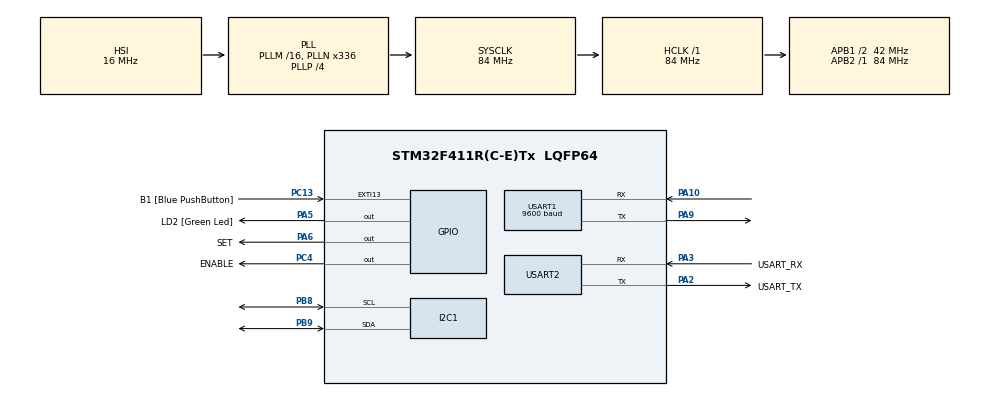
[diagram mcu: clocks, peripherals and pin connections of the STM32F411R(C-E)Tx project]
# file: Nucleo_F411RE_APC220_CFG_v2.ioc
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Mcu.Family=STM32F4
Mcu.Name=STM32F411R(C-E)Tx
Mcu.Package=LQFP64
NVIC.PriorityGroup=NVIC_PRIORITYGROUP_0
NVIC.USART1_IRQn=true\:0\:0\:false\:false\:true\:true\:true\:true
PA10.Mode=Asynchronous
PA10.Signal=USART1_RX
PA13.GPIO_Label=TMS
PA13.Mode=Serial_Wire
PA13.Signal=SYS_JTMS-SWDIO
PA14.GPIO_Label=TCK
PA14.Mode=Serial_Wire
PA14.Signal=SYS_JTCK-SWCLK
PA2.GPIO_Label=USART_TX
PA2.Mode=Asynchronous
PA2.Signal=USART2_TX
PA3.GPIO_Label=USART_RX
PA3.Mode=Asynchronous
PA3.Signal=USART2_RX
PA5.GPIO_Label=LD2 [Green Led]
PA5.Signal=GPIO_Output
PA6.GPIO_Label=SET
PA6.Signal=GPIO_Output
PA9.Mode=Asynchronous
PA9.Signal=USART1_TX
PB3.GPIO_Label=SWO
PB3.Signal=SYS_JTDO-SWO
PB8.Mode=I2C
PB8.Signal=I2C1_SCL
PB9.Mode=I2C
PB9.Signal=I2C1_SDA
PC13-ANTI_TAMP.GPIO_Label=B1 [Blue PushButton]
PC13-ANTI_TAMP.GPIO_ModeDefaultEXTI=GPIO_MODE_IT_FALLING
PC13-ANTI_TAMP.Signal=GPXTI13
PC14-OSC32_IN.Mode=LSE-External-Oscillator
PC14-OSC32_IN.Signal=RCC_OSC32_IN
PC15-OSC32_OUT.Mode=LSE-External-Oscillator
PC15-OSC32_OUT.Signal=RCC_OSC32_OUT
PC4.GPIO_Label=ENABLE
PC4.Signal=GPIO_Output
PH0\ -\ OSC_IN.Mode=HSE-External-Clock-Source
PH0\ -\ OSC_IN.Signal=RCC_OSC_IN
PH1\ -\ OSC_OUT.Mode=HSE-External-Clock-Source
PH1\ -\ OSC_OUT.Signal=RCC_OSC_OUT
ProjectManager.HeapSize=0x200
ProjectManager.StackSize=0x400
ProjectManager.TargetToolchain=STM32CubeIDE
RCC.48MHZClocksFreq_Value=84000000
RCC.AHBFreq_Value=84000000
RCC.APB1CLKDivider=RCC_HCLK_DIV2
RCC.APB1Freq_Value=42000000
RCC.APB1TimFreq_Value=84000000
RCC.APB2Freq_Value=84000000
RCC.APB2TimFreq_Value=84000000
RCC.CortexFreq_Value=84000000
RCC.FLatency-AdvancedSettings=FLASH_LATENCY_2
RCC.HCLKFreq_Value=84000000
RCC.HSE_VALUE=8000000
RCC.HSI_VALUE=16000000
RCC.PLLN=336
RCC.PLLP=RCC_PLLP_DIV4
RCC.SYSCLKFreq_VALUE=84000000
RCC.SYSCLKSource=RCC_SYSCLKSOURCE_PLLCLK
RCC.VCOOutputFreq_Value=336000000
USART1.BaudRate=9600
USART1.VirtualMode=VM_ASYNC
USART2.VirtualMode=VM_ASYNC
board=NUCLEO-F411RE

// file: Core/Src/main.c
/* USER CODE BEGIN Header */
/**
 ******************************************************************************
 * @file           : main.c
 * @brief          : Main program body
 ******************************************************************************
 * @attention
 *
 * Copyright (c) 2022 STMicroelectronics.
 * All rights reserved.
 *
 * This software is licensed under terms that can be found in the LICENSE file
 * in the root directory of this software component.
 * If no LICENSE file comes with this software, it is provided AS-IS.
 *
 ******************************************************************************
 */
/* USER CODE END Header */
#include "main.h"

/* USER CODE BEGIN Includes */
#include <stdio.h>
#include <string.h>
#include "uart.h"
#include "hal_lcd.h"
#include "fonts.h"
#include "bluetooth_logo.h"

/* USER CODE END Includes */

I2C_HandleTypeDef hi2c1;

UART_HandleTypeDef huart2;

/* USER CODE BEGIN PV */
HAL_StatusTypeDef hal_status = HAL_OK;

char buffer [UART_RX_BUFFER_SIZE];
int len;
uint8_t isCaptured =0;
/* USER CODE END PV */

void SystemClock_Config(void);
static void MX_GPIO_Init(void);
static void MX_I2C1_Init(void);
static void MX_USART1_UART_Init(void);
static void MX_USART2_UART_Init(void);
/* USER CODE BEGIN PFP */

//static void OnError_Handler(uint32_t condition);
static void StartUartReception(void);
/* USER CODE END PFP */

/* USER CODE BEGIN 0 */
// WARNING UART2 is connected to st-link
// Properties -> Settings -> MCU_Settings -> select use float with printf
/*
 * USART2, BaudRate = 115200, WordLength = UART_WORDLENGTH_8B, StopBits = UART_STOPBITS_1;
 * */
int _write(int file, char *ptr, int len)
{
	HAL_UART_Transmit(&huart2,(uint8_t *)ptr, len, 10);
	return len;
}

/*
int _write(int file, char *ptr, int len)
{
	for (uint8_t i=0; i<len; i++){
		LL_USART_TransmitData8(USART2, ptr[i]);
		while ( !LL_USART_IsActiveFlag_TXE(USART2) ){ ; }
	}
	return len;
}
 */

void UART_Transmit(uint8_t *data, uint16_t length)
{
	// Wait for TXE (transmit data register empty) flag to be set
	while((USART1->SR & USART_SR_TXE) == 0);

	// Write data to the data register
	for(uint16_t i = 0; i < length; i++)
	{
		USART1->DR = data[i];

		// Wait for TC (transmission complete) flag to be set
		while((USART1->SR & USART_SR_TC) == 0);
	}
}

int UART_Receive(char *data, uint16_t max_length)
{
	char c;
	int i = 0;
	data[0]=0;
	do {
		c = uartGetChar();
		if (c == '\r' || c == '\n') break;

		data[i++] = c;
		if (i >= max_length) break;
	}
	while (isUartRxNotEmpty());
	return i;
}

/* USER CODE END 0 */

int main(void)
{

	/* MCU Configuration--------------------------------------------------------*/

	/* Reset of all peripherals, Initializes the Flash interface and the Systick. */
	HAL_Init();

	/* Configure the system clock */
	SystemClock_Config();

	/* Initialize all configured peripherals */
	MX_GPIO_Init();
	MX_I2C1_Init();
	MX_USART1_UART_Init();
	MX_USART2_UART_Init();
	/* USER CODE BEGIN 2 */

#define SSD1306
#ifdef SSD1306
	LCD_Init();
	LCD_PrintTest(0, 0, "test", SSD1306_COLOR_WHITE, LCD_CHAR_SMALL);

	SSD1306_Fill(SSD1306_COLOR_BLACK);

	FontDef_t Font = Font_11x18;
	SSD1306_GotoXY(0, 0);
	SSD1306_Puts("12345678901", &Font, SSD1306_COLOR_WHITE);
	SSD1306_UpdateScreen();

	SSD1306_GotoXY(0, 14);
	SSD1306_Puts("ABCDEFGHIJK", &Font, SSD1306_COLOR_WHITE);
	SSD1306_UpdateScreen();

	HAL_Delay(2000);
	SSD1306_Fill(SSD1306_COLOR_BLACK);
#endif

	printf("Start ...\n");
	StartUartReception();

	HAL_GPIO_WritePin(ENABLE_GPIO_Port, ENABLE_Pin, GPIO_PIN_SET);
	HAL_GPIO_WritePin(SET_GPIO_Port, SET_Pin, GPIO_PIN_SET);
	HAL_Delay(50); // 50ms at least

	HAL_GPIO_WritePin(SET_GPIO_Port, SET_Pin, GPIO_PIN_RESET); // pulling SET to low will put apc220 in config mode
	HAL_Delay(50); // stabilize please

	/*
  Parameters      Bytes Instruction
  Frequency       6     Unit is KHz,for example 434MHz is 434000.
  Rf data rate    1     1,2,3 and 4 refer to 2400, 4800, 9600, 19200bps separetely.
  Output power    1     from 0 to 9, 9 means 13dBm(20mW).
  UART rate       1     0,1,2,3,4,5 and 6 refers to 1200, 2400, 4800, 9600, 19200, 38400, 57600bps separately.
  Series checkout 1     Series checkout：0 means no check,1 means even parity,2 means odd parity.
	 */

#define noBaudRate57600
#ifdef BaudRate57600
	len = snprintf ( buffer, 128, "WR 433900 3 9 6 0\r\n"); // ask for data
#else
	len = snprintf ( buffer, 128, "WR 433900 3 9 3 0\r\n"); // ask for data
#endif

//	printf("RX Flush\n");
//	do {
//		uartGetChar();
//	}
//	while (isUartRxNotEmpty());

	UART_Transmit((uint8_t *)buffer, len);
	HAL_Delay(50);

	printf("Write and Read\n");
	do {
		printf("%c", uartGetChar());
	}
	while (isUartRxNotEmpty());
	printf("\n");

	/* ------------------------*/

#ifdef BaudRate57600
	LL_USART_Disable(USART1);
	LL_USART_InitTypeDef USART_InitStruct = {0};
	USART_InitStruct.BaudRate = 57600;
	USART_InitStruct.DataWidth = LL_USART_DATAWIDTH_8B;
	USART_InitStruct.StopBits = LL_USART_STOPBITS_1;
	USART_InitStruct.Parity = LL_USART_PARITY_NONE;
	USART_InitStruct.TransferDirection = LL_USART_DIRECTION_TX_RX;
	USART_InitStruct.HardwareFlowControl = LL_USART_HWCONTROL_NONE;
	USART_InitStruct.OverSampling = LL_USART_OVERSAMPLING_16;
	LL_USART_Init(USART1, &USART_InitStruct);
	LL_USART_ConfigAsyncMode(USART1);
	LL_USART_Enable(USART1);
#endif
	/* ------------------------*/

	HAL_GPIO_WritePin(SET_GPIO_Port, SET_Pin, GPIO_PIN_SET); // put apc220 back in operation
	HAL_Delay(200);

	HAL_GPIO_WritePin(SET_GPIO_Port, SET_Pin, GPIO_PIN_RESET); // pulling SET to low will put apc220 in config mode
	HAL_Delay(50); // stabilize please

	len = snprintf ( buffer, 128, "RD\r\n"); // ask for data
	UART_Transmit((uint8_t *)buffer, len);
	HAL_Delay(50);

	printf("Read\n");
	do {
		printf("%c", uartGetChar());
	}
	while (isUartRxNotEmpty());
	printf("\n");

	HAL_GPIO_WritePin(SET_GPIO_Port, SET_Pin, GPIO_PIN_SET); // put apc220 back in operation
	HAL_Delay(200);
	/* USER CODE END 2 */

	/* Infinite loop */
	while (1)
	{

		/* USER CODE BEGIN 3 */
		//		len = UART_Receive(buffer, UART_RX_BUFFER_SIZE);
		//		for (int i=0; i<len; i++){
		//			printf("%d", buffer[i]);
		//		}
		//		printf("%s\n", buffer);
		//		if (len) printf("len %d\n");
#define SZ (128)
		char str[SZ], c;
		int sz=0;

		do {
			c = uartGetChar();
			str[sz++]=c;
		}
		while (isUartRxNotEmpty() || (c!='\r'));
		uartGetChar(); // remove '\n'
		str[sz]=0;
		printf("*%s*\n", str);

#ifdef RECEIPT
		len = snprintf ( buffer, 128, "OK\r\n"); // ask for data
		UART_Transmit((uint8_t *)buffer, len);
		HAL_Delay(50);
#endif

#ifdef SSD1306
			FontDef_t Font = Font_7x10;
			SSD1306_Fill(SSD1306_COLOR_BLACK);
			SSD1306_GotoXY(0, 0);
			SSD1306_Puts(str, &Font, SSD1306_COLOR_WHITE);
			SSD1306_UpdateScreen();
#endif

	}
	/* USER CODE END 3 */
}

void SystemClock_Config(void)
{
	RCC_OscInitTypeDef RCC_OscInitStruct = {0};
	RCC_ClkInitTypeDef RCC_ClkInitStruct = {0};

	/** Configure the main internal regulator output voltage
	 */
	__HAL_RCC_PWR_CLK_ENABLE();
	__HAL_PWR_VOLTAGESCALING_CONFIG(PWR_REGULATOR_VOLTAGE_SCALE1);

	/** Initializes the RCC Oscillators according to the specified parameters
	 * in the RCC_OscInitTypeDef structure.
	 */
	RCC_OscInitStruct.OscillatorType = RCC_OSCILLATORTYPE_HSI;
	RCC_OscInitStruct.HSIState = RCC_HSI_ON;
	RCC_OscInitStruct.HSICalibrationValue = RCC_HSICALIBRATION_DEFAULT;
	RCC_OscInitStruct.PLL.PLLState = RCC_PLL_ON;
	RCC_OscInitStruct.PLL.PLLSource = RCC_PLLSOURCE_HSI;
	RCC_OscInitStruct.PLL.PLLM = 16;
	RCC_OscInitStruct.PLL.PLLN = 336;
	RCC_OscInitStruct.PLL.PLLP = RCC_PLLP_DIV4;
	RCC_OscInitStruct.PLL.PLLQ = 4;
	if (HAL_RCC_OscConfig(&RCC_OscInitStruct) != HAL_OK)
	{
		Error_Handler();
	}

	/** Initializes the CPU, AHB and APB buses clocks
	 */
	RCC_ClkInitStruct.ClockType = RCC_CLOCKTYPE_HCLK|RCC_CLOCKTYPE_SYSCLK
			|RCC_CLOCKTYPE_PCLK1|RCC_CLOCKTYPE_PCLK2;
	RCC_ClkInitStruct.SYSCLKSource = RCC_SYSCLKSOURCE_PLLCLK;
	RCC_ClkInitStruct.AHBCLKDivider = RCC_SYSCLK_DIV1;
	RCC_ClkInitStruct.APB1CLKDivider = RCC_HCLK_DIV2;
	RCC_ClkInitStruct.APB2CLKDivider = RCC_HCLK_DIV1;

	if (HAL_RCC_ClockConfig(&RCC_ClkInitStruct, FLASH_LATENCY_2) != HAL_OK)
	{
		Error_Handler();
	}
}

static void MX_I2C1_Init(void)
{

	hi2c1.Instance = I2C1;
	hi2c1.Init.ClockSpeed = 100000;
	hi2c1.Init.DutyCycle = I2C_DUTYCYCLE_2;
	hi2c1.Init.OwnAddress1 = 0;
	hi2c1.Init.AddressingMode = I2C_ADDRESSINGMODE_7BIT;
	hi2c1.Init.DualAddressMode = I2C_DUALADDRESS_DISABLE;
	hi2c1.Init.OwnAddress2 = 0;
	hi2c1.Init.GeneralCallMode = I2C_GENERALCALL_DISABLE;
	hi2c1.Init.NoStretchMode = I2C_NOSTRETCH_DISABLE;
	if (HAL_I2C_Init(&hi2c1) != HAL_OK)
	{
		Error_Handler();
	}

}

static void MX_USART1_UART_Init(void)
{

	LL_USART_InitTypeDef USART_InitStruct = {0};

	LL_GPIO_InitTypeDef GPIO_InitStruct = {0};

	/* Peripheral clock enable */
	LL_APB2_GRP1_EnableClock(LL_APB2_GRP1_PERIPH_USART1);

	LL_AHB1_GRP1_EnableClock(LL_AHB1_GRP1_PERIPH_GPIOA);
	/**USART1 GPIO Configuration
  PA9   ------> USART1_TX
  PA10   ------> USART1_RX
	 */
	GPIO_InitStruct.Pin = LL_GPIO_PIN_9|LL_GPIO_PIN_10;
	GPIO_InitStruct.Mode = LL_GPIO_MODE_ALTERNATE;
	GPIO_InitStruct.Speed = LL_GPIO_SPEED_FREQ_VERY_HIGH;
	GPIO_InitStruct.OutputType = LL_GPIO_OUTPUT_PUSHPULL;
	GPIO_InitStruct.Pull = LL_GPIO_PULL_NO;
	GPIO_InitStruct.Alternate = LL_GPIO_AF_7;
	LL_GPIO_Init(GPIOA, &GPIO_InitStruct);

	/* USART1 interrupt Init */
	NVIC_SetPriority(USART1_IRQn, NVIC_EncodePriority(NVIC_GetPriorityGrouping(),0, 0));
	NVIC_EnableIRQ(USART1_IRQn);

	USART_InitStruct.BaudRate = 9600;
	USART_InitStruct.DataWidth = LL_USART_DATAWIDTH_8B;
	USART_InitStruct.StopBits = LL_USART_STOPBITS_1;
	USART_InitStruct.Parity = LL_USART_PARITY_NONE;
	USART_InitStruct.TransferDirection = LL_USART_DIRECTION_TX_RX;
	USART_InitStruct.HardwareFlowControl = LL_USART_HWCONTROL_NONE;
	USART_InitStruct.OverSampling = LL_USART_OVERSAMPLING_16;
	LL_USART_Init(USART1, &USART_InitStruct);
	LL_USART_ConfigAsyncMode(USART1);
	LL_USART_Enable(USART1);

}

static void MX_USART2_UART_Init(void)
{

	huart2.Instance = USART2;
	huart2.Init.BaudRate = 115200;
	huart2.Init.WordLength = UART_WORDLENGTH_8B;
	huart2.Init.StopBits = UART_STOPBITS_1;
	huart2.Init.Parity = UART_PARITY_NONE;
	huart2.Init.Mode = UART_MODE_TX_RX;
	huart2.Init.HwFlowCtl = UART_HWCONTROL_NONE;
	huart2.Init.OverSampling = UART_OVERSAMPLING_16;
	if (HAL_UART_Init(&huart2) != HAL_OK)
	{
		Error_Handler();
	}

}

static void MX_GPIO_Init(void)
{
	GPIO_InitTypeDef GPIO_InitStruct = {0};

	/* GPIO Ports Clock Enable */
	__HAL_RCC_GPIOC_CLK_ENABLE();
	__HAL_RCC_GPIOH_CLK_ENABLE();
	__HAL_RCC_GPIOA_CLK_ENABLE();
	__HAL_RCC_GPIOB_CLK_ENABLE();

	/*Configure GPIO pin Output Level */
	HAL_GPIO_WritePin(GPIOA, LD2_Pin|SET_Pin, GPIO_PIN_RESET);

	/*Configure GPIO pin Output Level */
	HAL_GPIO_WritePin(ENABLE_GPIO_Port, ENABLE_Pin, GPIO_PIN_RESET);

	/*Configure GPIO pin : B1_Pin */
	GPIO_InitStruct.Pin = B1_Pin;
	GPIO_InitStruct.Mode = GPIO_MODE_IT_FALLING;
	GPIO_InitStruct.Pull = GPIO_NOPULL;
	HAL_GPIO_Init(B1_GPIO_Port, &GPIO_InitStruct);

	/*Configure GPIO pins : LD2_Pin SET_Pin */
	GPIO_InitStruct.Pin = LD2_Pin|SET_Pin;
	GPIO_InitStruct.Mode = GPIO_MODE_OUTPUT_PP;
	GPIO_InitStruct.Pull = GPIO_NOPULL;
	GPIO_InitStruct.Speed = GPIO_SPEED_FREQ_LOW;
	HAL_GPIO_Init(GPIOA, &GPIO_InitStruct);

	/*Configure GPIO pin : ENABLE_Pin */
	GPIO_InitStruct.Pin = ENABLE_Pin;
	GPIO_InitStruct.Mode = GPIO_MODE_OUTPUT_PP;
	GPIO_InitStruct.Pull = GPIO_NOPULL;
	GPIO_InitStruct.Speed = GPIO_SPEED_FREQ_LOW;
	HAL_GPIO_Init(ENABLE_GPIO_Port, &GPIO_InitStruct);

}

/* USER CODE BEGIN 4 */

/**
 * @brief  On Error Handler on condition TRUE.
 * @param  condition : Can be TRUE or FALSE
 * @retval None
 */
//static void OnError_Handler(uint32_t condition)
//{
//	if(condition)
//	{
//	    HAL_GPIO_WritePin(LD2_GPIO_Port, LD2_Pin, GPIO_PIN_SET);
//		while(1) { ; } /* Blocking on error */
//	}
//}

/**
 * @brief  This function prints user info on PC com port and initiates RX transfer
 * @param  None
 * @retval None
 */
void StartUartReception(void)
{
	uartTxFlush();

	/* Clear Overrun flag, in case characters have already been sent to USART */
	LL_USART_ClearFlag_ORE(USART1);

	/* Enable RXNE and Error interrupts */
	LL_USART_EnableIT_RXNE(USART1);
	LL_USART_EnableIT_ERROR(USART1);
}

/* USER CODE END 4 */

void Error_Handler(void)
{
	/* USER CODE BEGIN Error_Handler_Debug */
	/* User can add his own implementation to report the HAL error return state */
	__disable_irq();
	HAL_GPIO_WritePin(LD2_GPIO_Port, LD2_Pin, GPIO_PIN_SET);
	while (1)
	{
	}
	/* USER CODE END Error_Handler_Debug */
}
